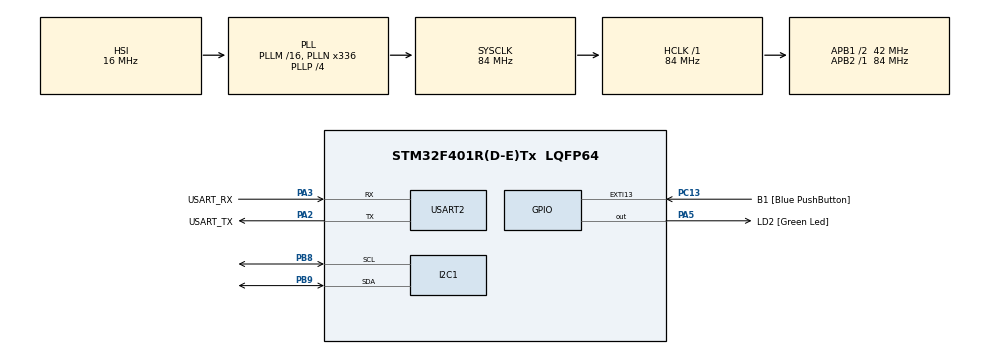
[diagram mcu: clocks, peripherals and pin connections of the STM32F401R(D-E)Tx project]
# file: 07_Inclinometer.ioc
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Mcu.Family=STM32F4
Mcu.Name=STM32F401R(D-E)Tx
Mcu.Package=LQFP64
NVIC.EXTI15_10_IRQn=true\:0\:0\:false\:false\:true\:true\:true\:true
NVIC.PriorityGroup=NVIC_PRIORITYGROUP_4
PA13.GPIO_Label=TMS
PA13.Mode=Trace_Asynchronous_SW
PA13.Signal=SYS_JTMS-SWDIO
PA14.GPIO_Label=TCK
PA14.Mode=Trace_Asynchronous_SW
PA14.Signal=SYS_JTCK-SWCLK
PA2.GPIO_Label=USART_TX
PA2.GPIO_Mode=GPIO_MODE_AF_PP
PA2.GPIO_PuPd=GPIO_NOPULL
PA2.GPIO_Speed=GPIO_SPEED_FREQ_LOW
PA2.Mode=Asynchronous
PA2.Signal=USART2_TX
PA3.GPIO_Label=USART_RX
PA3.GPIO_Mode=GPIO_MODE_AF_PP
PA3.GPIO_PuPd=GPIO_NOPULL
PA3.GPIO_Speed=GPIO_SPEED_FREQ_LOW
PA3.Mode=Asynchronous
PA3.Signal=USART2_RX
PA5.GPIO_Label=LD2 [Green Led]
PA5.GPIO_Mode=GPIO_MODE_OUTPUT_PP
PA5.GPIO_PuPd=GPIO_NOPULL
PA5.GPIO_Speed=GPIO_SPEED_FREQ_LOW
PA5.Signal=GPIO_Output
PB3.GPIO_Label=SWO
PB3.Mode=Trace_Asynchronous_SW
PB3.Signal=SYS_JTDO-SWO
PB8.Mode=I2C
PB8.Signal=I2C1_SCL
PB9.Mode=I2C
PB9.Signal=I2C1_SDA
PC13-ANTI_TAMP.GPIO_Label=B1 [Blue PushButton]
PC13-ANTI_TAMP.GPIO_ModeDefaultEXTI=GPIO_MODE_IT_FALLING
PC13-ANTI_TAMP.GPIO_PuPd=GPIO_NOPULL
PC13-ANTI_TAMP.Signal=GPXTI13
PC14-OSC32_IN.Mode=LSE-External-Oscillator
PC14-OSC32_IN.Signal=RCC_OSC32_IN
PC15-OSC32_OUT.Mode=LSE-External-Oscillator
PC15-OSC32_OUT.Signal=RCC_OSC32_OUT
PH0\ -\ OSC_IN.Mode=HSE-External-Clock-Source
PH0\ -\ OSC_IN.Signal=RCC_OSC_IN
PH1\ -\ OSC_OUT.Mode=HSE-External-Clock-Source
PH1\ -\ OSC_OUT.Signal=RCC_OSC_OUT
ProjectManager.HeapSize=0x200
ProjectManager.StackSize=0x400
ProjectManager.TargetToolchain=STM32CubeIDE
RCC.48MHZClocksFreq_Value=48000000
RCC.AHBFreq_Value=84000000
RCC.APB1CLKDivider=RCC_HCLK_DIV2
RCC.APB1Freq_Value=42000000
RCC.APB1TimFreq_Value=84000000
RCC.APB2Freq_Value=84000000
RCC.APB2TimFreq_Value=84000000
RCC.CortexFreq_Value=84000000
RCC.HCLKFreq_Value=84000000
RCC.HSE_VALUE=8000000
RCC.HSI_VALUE=16000000
RCC.PLLN=336
RCC.PLLP=RCC_PLLP_DIV4
RCC.PLLQ=7
RCC.SYSCLKFreq_VALUE=84000000
RCC.SYSCLKSource=RCC_SYSCLKSOURCE_PLLCLK
RCC.VCOOutputFreq_Value=336000000
USART2.VirtualMode=VM_ASYNC
board=NUCLEO-F401RE

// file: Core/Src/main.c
/* USER CODE BEGIN Header */
/**
  ******************************************************************************
  * @file           : main.c
  * @brief          : Main program body
  ******************************************************************************
  * @attention
  *
  * Copyright (c) 2026 STMicroelectronics.
  * All rights reserved.
  *
  * This software is licensed under terms that can be found in the LICENSE file
  * in the root directory of this software component.
  * If no LICENSE file comes with this software, it is provided AS-IS.
  *
  ******************************************************************************
  */
/* USER CODE END Header */
#include "main.h"

/* USER CODE BEGIN Includes */
#include "stdio.h"
#include "math.h"	// for atan2
#include "ssd1306.h"
#include "adxl345.h"
/* USER CODE END Includes */

/* USER CODE BEGIN PD */
#define oled_sensitivity 45 // suggesting range: 45~180
/* USER CODE END PD */

I2C_HandleTypeDef hi2c1;

UART_HandleTypeDef huart2;

/* USER CODE BEGIN PV */
char oled_buf[32];
double roll_offset = 0;
double pitch_offset = 0;
double yaw_offset = 0;
volatile double roll_deg = 0;
volatile double pitch_deg = 0;
volatile double yaw_deg = 0;
/* USER CODE END PV */

void SystemClock_Config(void);
static void MX_GPIO_Init(void);
static void MX_USART2_UART_Init(void);
static void MX_I2C1_Init(void);
/* USER CODE BEGIN PFP */
void I2C_Bus_Unlock(void);
void convertRawToAngle(double *roll_final, double *pitch_final, double *yaw_final, int16_t x, int16_t y, int16_t z);
void mapAngleToPixel(uint8_t *oled_x, uint8_t *oled_y, double angle_x, double angle_y);
/* USER CODE END PFP */

int main(void)
{

  /* MCU Configuration--------------------------------------------------------*/

  /* Reset of all peripherals, Initializes the Flash interface and the Systick. */
  HAL_Init();

  /* Configure the system clock */
  SystemClock_Config();

  /* USER CODE BEGIN SysInit */
  I2C_Bus_Unlock();
  /* USER CODE END SysInit */

  /* Initialize all configured peripherals */
  MX_GPIO_Init();
  MX_USART2_UART_Init();
  MX_I2C1_Init();
  /* USER CODE BEGIN 2 */

  ssd1306_Init(&hi2c1);
  ADXL345_Init(&hi2c1);
  /* USER CODE END 2 */

  /* Infinite loop */
  while (1)
  {

    /* USER CODE BEGIN 3 */
	int16_t x, y, z;

	if(ADXL345_Read_Raw(&hi2c1, &x, &y, &z) == HAL_OK)
	{
		// calculate angle
		double roll_final, pitch_final, yaw_final;
		convertRawToAngle(&roll_final, &pitch_final, &yaw_final, x, y, z);

		// map to pixel
		uint8_t final_x, final_y;
		mapAngleToPixel(&final_x, &final_y, roll_final, pitch_final);	// convert angle to coordinate in ssd1306 oled 128x32

		// update oled
		ssd1306_Fill(Black);

		ssd1306_DrawPixel(final_x, final_y, White);
		ssd1306_DrawPixel(final_x+1, final_y, White);
		ssd1306_DrawPixel(final_x, final_y+1, White);
		ssd1306_DrawPixel(final_x+1, final_y+1, White);

		ssd1306_UpdateScreen(&hi2c1);
	}
  }
  /* USER CODE END 3 */
}

void SystemClock_Config(void)
{
  RCC_OscInitTypeDef RCC_OscInitStruct = {0};
  RCC_ClkInitTypeDef RCC_ClkInitStruct = {0};

  /** Configure the main internal regulator output voltage
  */
  __HAL_RCC_PWR_CLK_ENABLE();
  __HAL_PWR_VOLTAGESCALING_CONFIG(PWR_REGULATOR_VOLTAGE_SCALE2);

  /** Initializes the RCC Oscillators according to the specified parameters
  * in the RCC_OscInitTypeDef structure.
  */
  RCC_OscInitStruct.OscillatorType = RCC_OSCILLATORTYPE_HSI;
  RCC_OscInitStruct.HSIState = RCC_HSI_ON;
  RCC_OscInitStruct.HSICalibrationValue = RCC_HSICALIBRATION_DEFAULT;
  RCC_OscInitStruct.PLL.PLLState = RCC_PLL_ON;
  RCC_OscInitStruct.PLL.PLLSource = RCC_PLLSOURCE_HSI;
  RCC_OscInitStruct.PLL.PLLM = 16;
  RCC_OscInitStruct.PLL.PLLN = 336;
  RCC_OscInitStruct.PLL.PLLP = RCC_PLLP_DIV4;
  RCC_OscInitStruct.PLL.PLLQ = 7;
  if (HAL_RCC_OscConfig(&RCC_OscInitStruct) != HAL_OK)
  {
    Error_Handler();
  }

  /** Initializes the CPU, AHB and APB buses clocks
  */
  RCC_ClkInitStruct.ClockType = RCC_CLOCKTYPE_HCLK|RCC_CLOCKTYPE_SYSCLK
                              |RCC_CLOCKTYPE_PCLK1|RCC_CLOCKTYPE_PCLK2;
  RCC_ClkInitStruct.SYSCLKSource = RCC_SYSCLKSOURCE_PLLCLK;
  RCC_ClkInitStruct.AHBCLKDivider = RCC_SYSCLK_DIV1;
  RCC_ClkInitStruct.APB1CLKDivider = RCC_HCLK_DIV2;
  RCC_ClkInitStruct.APB2CLKDivider = RCC_HCLK_DIV1;

  if (HAL_RCC_ClockConfig(&RCC_ClkInitStruct, FLASH_LATENCY_2) != HAL_OK)
  {
    Error_Handler();
  }
}

static void MX_I2C1_Init(void)
{

  hi2c1.Instance = I2C1;
  hi2c1.Init.ClockSpeed = 100000;
  hi2c1.Init.DutyCycle = I2C_DUTYCYCLE_2;
  hi2c1.Init.OwnAddress1 = 0;
  hi2c1.Init.AddressingMode = I2C_ADDRESSINGMODE_7BIT;
  hi2c1.Init.DualAddressMode = I2C_DUALADDRESS_DISABLE;
  hi2c1.Init.OwnAddress2 = 0;
  hi2c1.Init.GeneralCallMode = I2C_GENERALCALL_DISABLE;
  hi2c1.Init.NoStretchMode = I2C_NOSTRETCH_DISABLE;
  if (HAL_I2C_Init(&hi2c1) != HAL_OK)
  {
    Error_Handler();
  }

}

static void MX_USART2_UART_Init(void)
{

  huart2.Instance = USART2;
  huart2.Init.BaudRate = 115200;
  huart2.Init.WordLength = UART_WORDLENGTH_8B;
  huart2.Init.StopBits = UART_STOPBITS_1;
  huart2.Init.Parity = UART_PARITY_NONE;
  huart2.Init.Mode = UART_MODE_TX_RX;
  huart2.Init.HwFlowCtl = UART_HWCONTROL_NONE;
  huart2.Init.OverSampling = UART_OVERSAMPLING_16;
  if (HAL_UART_Init(&huart2) != HAL_OK)
  {
    Error_Handler();
  }

}

static void MX_GPIO_Init(void)
{
  GPIO_InitTypeDef GPIO_InitStruct = {0};

  /* GPIO Ports Clock Enable */
  __HAL_RCC_GPIOC_CLK_ENABLE();
  __HAL_RCC_GPIOH_CLK_ENABLE();
  __HAL_RCC_GPIOA_CLK_ENABLE();
  __HAL_RCC_GPIOB_CLK_ENABLE();

  /*Configure GPIO pin Output Level */
  HAL_GPIO_WritePin(LD2_GPIO_Port, LD2_Pin, GPIO_PIN_RESET);

  /*Configure GPIO pin : B1_Pin */
  GPIO_InitStruct.Pin = B1_Pin;
  GPIO_InitStruct.Mode = GPIO_MODE_IT_FALLING;
  GPIO_InitStruct.Pull = GPIO_NOPULL;
  HAL_GPIO_Init(B1_GPIO_Port, &GPIO_InitStruct);

  /*Configure GPIO pin : LD2_Pin */
  GPIO_InitStruct.Pin = LD2_Pin;
  GPIO_InitStruct.Mode = GPIO_MODE_OUTPUT_PP;
  GPIO_InitStruct.Pull = GPIO_NOPULL;
  GPIO_InitStruct.Speed = GPIO_SPEED_FREQ_LOW;
  HAL_GPIO_Init(LD2_GPIO_Port, &GPIO_InitStruct);

  /* EXTI interrupt init*/
  HAL_NVIC_SetPriority(EXTI15_10_IRQn, 0, 0);
  HAL_NVIC_EnableIRQ(EXTI15_10_IRQn);

}

/* USER CODE BEGIN 4 */
void I2C_Bus_Unlock(void)
{
	// Finish I2C package if it is middle of it.

	GPIO_InitTypeDef GPIO_InitStruct = {0};
	GPIO_InitStruct.Pin = GPIO_PIN_8;
	GPIO_InitStruct.Mode = GPIO_MODE_OUTPUT_OD;
	GPIO_InitStruct.Pull = GPIO_PULLUP;
	GPIO_InitStruct.Speed = GPIO_SPEED_FREQ_HIGH;
	HAL_GPIO_Init(GPIOB, &GPIO_InitStruct);

	if(HAL_GPIO_ReadPin(GPIOB, GPIO_PIN_9) == GPIO_PIN_RESET)
	{
		// 9 bits on SCL
		for(int i=0; i<9; i++)
		{
			HAL_GPIO_WritePin(GPIOB, GPIO_PIN_8, GPIO_PIN_SET);
			HAL_Delay(5);
			HAL_GPIO_WritePin(GPIOB, GPIO_PIN_8, GPIO_PIN_RESET);
			HAL_Delay(5);
		}

		// stop bit
		GPIO_InitStruct.Pin = GPIO_PIN_9;
		GPIO_InitStruct.Mode = GPIO_MODE_OUTPUT_OD;
		HAL_GPIO_Init(GPIOB, &GPIO_InitStruct);

		HAL_GPIO_WritePin(GPIOB, GPIO_PIN_8, GPIO_PIN_SET);	// SCL = 1
		HAL_GPIO_WritePin(GPIOB, GPIO_PIN_9, GPIO_PIN_RESET);	// SDA = 0
		HAL_Delay(1);
		HAL_GPIO_WritePin(GPIOB, GPIO_PIN_9, GPIO_PIN_SET);	// SDA = 1
	}
}

void convertRawToAngle(double *roll_final, double *pitch_final, double *yaw_final, int16_t x, int16_t y, int16_t z)
{
	double roll_rad = atan2((double)y,(double)z);
	double pitch_rad = atan2((double)x,(double)z);
	double yaw_rad = atan2((double)y,(double)x);

	roll_deg = roll_rad * (180.0 / M_PI);
	pitch_deg = pitch_rad * (180.0 / M_PI);
	yaw_deg = yaw_rad * (180.0 / M_PI);

	*roll_final = (roll_deg-roll_offset) * -1; 	// -180~180 degree
	*pitch_final = (pitch_deg-pitch_offset) * -1;	// -180~180 degree
	*yaw_final = (yaw_deg-yaw_offset) * -1;	// -180~180 degree

}

void mapAngleToPixel(uint8_t *oled_x, uint8_t *oled_y, double angle_x, double angle_y)
{
	if(angle_x > oled_sensitivity)	angle_x = oled_sensitivity;
	if(angle_x < -oled_sensitivity)	angle_x = -oled_sensitivity;
	if(angle_y > oled_sensitivity)	angle_y = oled_sensitivity;
	if(angle_y < -oled_sensitivity)	angle_y = -oled_sensitivity;

	double cal_x = (SSD1306_WIDTH/2.0-1) + angle_x / oled_sensitivity * (SSD1306_WIDTH/2.0-1);
	double cal_y = (SSD1306_HEIGHT/2.0-1) + angle_y / oled_sensitivity * (SSD1306_HEIGHT/2.0-1);

	int16_t protect_x = (int16_t)cal_x;
	int16_t protect_y = (int16_t)cal_y;

	if(protect_x < 0)	protect_x = 0;
	if(protect_x > (SSD1306_WIDTH-2))	protect_x = (SSD1306_WIDTH-2);
	if(protect_y < 0)	protect_y = 0;
	if(protect_y > (SSD1306_HEIGHT-2))	protect_y = (SSD1306_HEIGHT-2);

	*oled_x = (uint8_t)protect_x;
	*oled_y = (uint8_t)protect_y;
}
void HAL_GPIO_EXTI_Callback(uint16_t GPIO_Pin)
{
	if(GPIO_Pin == B1_Pin)
	{
		// push button to calibrate offsets
		roll_offset = roll_deg;
		pitch_offset = pitch_deg;
		yaw_offset = yaw_deg;
	}
}
/* USER CODE END 4 */

void Error_Handler(void)
{
  __disable_irq();
  while (1)
  {
  }
}
